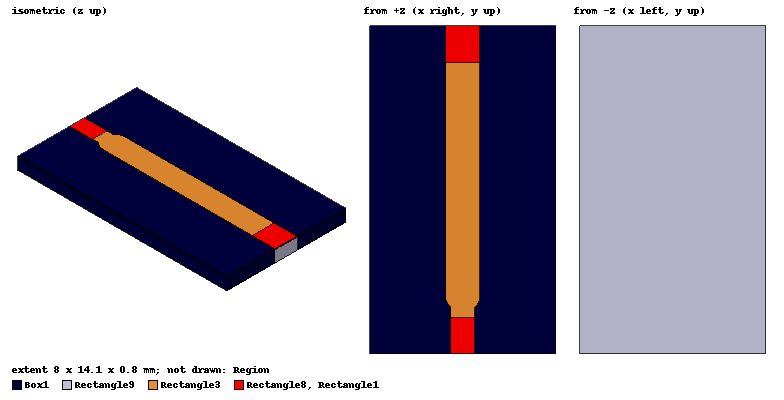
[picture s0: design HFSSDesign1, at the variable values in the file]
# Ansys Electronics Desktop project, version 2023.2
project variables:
  $l = 10mm
  $feedlength = 1mm
  $substratethick = 0.8mm
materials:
  vacuum: permittivity=1
  FR4_epoxy: permittivity=4.4 dielectric_loss_tangent=0.02
  Arlon TC600 (tm): permittivity=6.15 dielectric_loss_tangent=0.002
  air: permittivity=1.0006 permeability=1.0000004

design HFSSDesign1 (HFSS, HFSS Terminal Network, model units mm)
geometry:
  Rectangle1 = rectangle(corner=(0mm, 0mm, 0mm), x_size=1.02mm, y_size=1.53mm)
  Rectangle2 = rectangle(corner=(0mm, 1.53mm, 0mm), x_size=1mm, y_size=$feedlength)
  Circle1 = circle(normal=Z, centre=(0.5mm, 2.53mm, 0mm), radius=0.5mm)
  Circle2 = circle(normal=Z, centre=(0.5mm, 2.53mm, 0mm), radius=(1.49944/2) mm)
  Rectangle3 = rectangle(corner=(-0.24972mm, 2.53mm, 0mm), x_size=1.49972mm, y_size=$l)
  Rectangle3.unite(Circle2, Circle1, Rectangle2)
  Rectangle8 = rectangle(corner=(-0.24972mm, 12.53mm, 0mm), x_size=1.49944mm, y_size=1.57mm)
  Box1 [FR4_epoxy] = box(corner=(-3.5mm, 0mm, 0mm), size=(4.74972mm, 14.1mm, -$substratethick))
  Box2 = box(corner=(4.5mm, 0mm, 0mm), size=(-4.74972mm, 14.1mm, -$substratethick))
  Box1.unite(Box2)
  Rectangle9 = rectangle(corner=(-0.24972mm, 14.1mm, 0mm), z_size=-$substratethick, x_size=1.54972mm)
  Rectangle10 = rectangle(corner=(0mm, 0mm, 0mm), z_size=-0.8mm, x_size=1mm)
  Rectangle11 = rectangle(corner=(-3.5mm, 0mm, -$substratethick), x_size=8mm, y_size=14.1mm)
  Rectangle9.unite(Rectangle11, Rectangle10)
  Region [air] = region(absolute_offset=10mm on all sides)
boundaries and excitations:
  PerfE1: Perfect E Objects=Rectangle3
  Rad1: Radiation Objects=Region
  1: Lumped Port Objects=Rectangle1 LumpedPortType=Modal Modes{Mode1{IntLine{(0.5, 0, 0) -> (520mm, 1520mm, 0mm)} CharImp=Zpi RenormImp=50ohm}} Impedance=50ohm
  2: Lumped Port Objects=Rectangle8 LumpedPortType=Modal Modes{Mode1{IntLine{(0.5, 12.53, 0) -> (0.5, 14.1, 0)} CharImp=Zpi RenormImp=50ohm}} Impedance=50ohm
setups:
  Setup1: HfssDriven Frequency=5GHz MaxDeltaS=0.02 MaximumPasses=20 MinimumPasses=1 MinimumConvergedPasses=1 PercentRefinement=30 BasisOrder=1 PortAccuracy=2 DrivenSolverType="Direct Solver"
    sweep Sweep: 0.4GHz to 20GHz, 401 points; Type=Interpolating InterpTolerance=0.5 InterpMaxSolns=250 PassivityErrorTolerance=0.0001
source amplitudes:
  1:1: 1V 0deg
  2:1: 0V 0deg
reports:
  Terminal S Parameter Plot 1: dB(St(1,1)) vs Freq on Setup1 : Sweep

design Circuit1 (Circuit)
options: SParamCircuitDef IntegrationMethod=FFT
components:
  S3 = HFSSDesign2()
  U5 = Circuit2()
  port Port1 rz=50ohm iz=0ohm EnableNoise=false noisetemp=16.85cel
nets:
  0: S3.1
  net_1: U5.1, S3.0
  Port1: U5.0
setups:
  LinearFrequency: LinearFrequencyData(false, 0.1, false, "", false) SweepDefinition{Variable=Freq Data="LINC 0.4GHz 5GHz 400 LINC 0.4GHz 2.4GHz 400"}
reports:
  S Parameter Plot 1: dB(S(Port1,Port1)) vs Freq on LinearFrequency : LinearFrequency
  S Parameter Chart 1: S(Port1,Port1) on LinearFrequency : LinearFrequency [Freq=all]
  S-Parameters: S(Port1,Port1) on LinearFrequency : LinearFrequency [Freq=all]

design Circuit2 (Circuit)
options: SParamCircuitDef IntegrationMethod=FFT
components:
  L6 = IND_(L=472.52nH)
  port Port1 rz=50ohm iz=0ohm EnableNoise=false noisetemp=16.85cel
  port Port2 rz=50ohm iz=0ohm EnableNoise=false noisetemp=16.85cel
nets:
  Port1: L6.0
  Port2: L6.1
